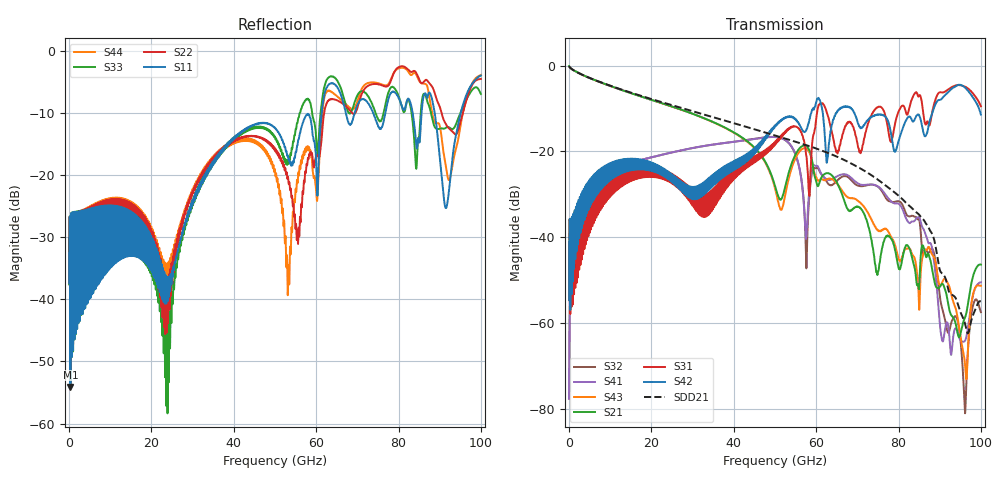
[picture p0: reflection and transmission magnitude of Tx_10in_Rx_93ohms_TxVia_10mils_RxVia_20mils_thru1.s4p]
! Info: Touchstone file created by Circ.  Input file=Tx_10in_Rx_93ohms_TxVia_10mils_RxVia_20mils.circ
# Hz S RI R 50
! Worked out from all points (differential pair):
!   10000 points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, 10 MHz to 100 GHz, reference 50 ohm
!   strongest paths, dB at 10 MHz, 25.01 GHz, 50.01 GHz, 75.01 GHz, 100 GHz:
!     S42: -54.6, -26.4, -14.0, -11.4, -11.4
!     S31: -54.6, -26.7, -18.0, -9.7, -9.5
!     S21: -0.1, -9.5, -28.0, -47.9, -46.4
!     S43: -0.1, -9.5, -28.7, -38.3, -51.3
!     S41: -77.6, -20.2, -16.6, -28.1, -50.5
!     S32: -77.6, -20.2, -16.6, -28.2, -57.4
!   taken as a pair (ports 1,3 in; 2,4 out), SDD21 dB: -0.1, -9.2, -16.3, -26.6, -54.9
!   lowest |S11| = -54.1 dB at 320 MHz (marker M1), VSWR 1.00, Z = 49.8 + j0.0225 ohm
!   |S11| at or under -10 dB: start of sweep to 61.37 GHz; 73.78 GHz to 76.8 GHz (3.013 GHz wide, 4 % of centre); 88.77 GHz to 95.13 GHz (6.355 GHz wide, 6.91 % of centre) (the widest 3 of 5)
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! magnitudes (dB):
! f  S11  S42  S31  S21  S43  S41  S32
! 10 MHz  -37.4  -54.6  -54.6  -0.1  -0.1  -77.6  -77.6
! 320 MHz  -54.1  -47.2  -47.3  -0.5  -0.5  -50.1  -50.1
! 7.44 GHz  -33.3  -24.3  -25.2  -3.8  -3.8  -26.5  -26.5
! 23.77 GHz  -36.5  -26.3  -26.8  -9.1  -9.1  -20.5  -20.5
! 49.43 GHz  -12.2  -14.5  -18.2  -26.3  -26.6  -16.6  -16.6
! 96.08 GHz  -7.9  -5.1  -4.9  -58.9  -68.9  -64.2  -80.3
! 100 GHz  -4.0  -11.4  -9.5  -46.4  -51.3  -50.5  -57.4
